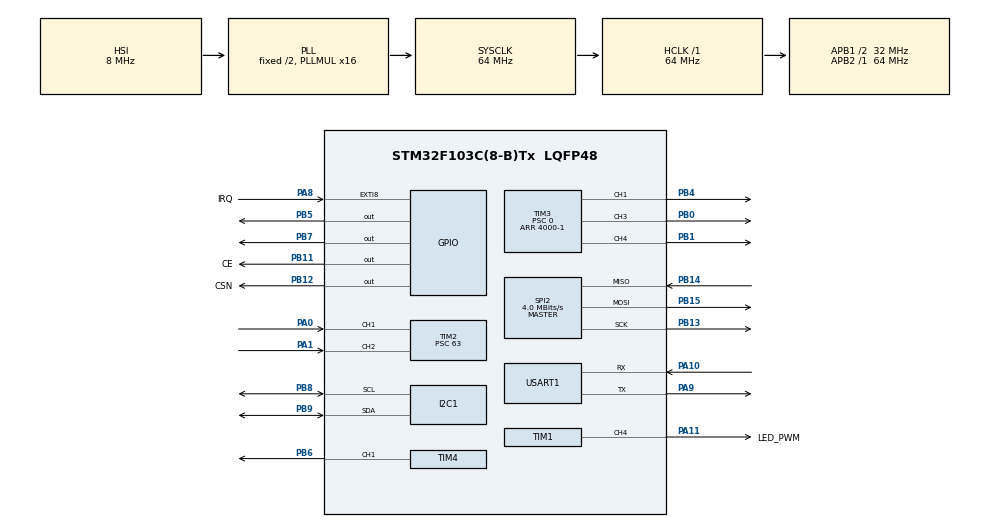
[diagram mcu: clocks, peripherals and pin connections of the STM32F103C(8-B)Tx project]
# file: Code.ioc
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Dma.Request0=TIM1_CH4/TRIG/COM
Dma.TIM1_CH4/TRIG/COM.0.Direction=DMA_MEMORY_TO_PERIPH
Dma.TIM1_CH4/TRIG/COM.0.Instance=DMA1_Channel4
Dma.TIM1_CH4/TRIG/COM.0.MemDataAlignment=DMA_MDATAALIGN_HALFWORD
Dma.TIM1_CH4/TRIG/COM.0.MemInc=DMA_MINC_ENABLE
Dma.TIM1_CH4/TRIG/COM.0.Mode=DMA_NORMAL
Dma.TIM1_CH4/TRIG/COM.0.PeriphDataAlignment=DMA_PDATAALIGN_HALFWORD
Dma.TIM1_CH4/TRIG/COM.0.PeriphInc=DMA_PINC_DISABLE
Dma.TIM1_CH4/TRIG/COM.0.Priority=DMA_PRIORITY_LOW
Mcu.Family=STM32F1
Mcu.Name=STM32F103C(8-B)Tx
Mcu.Package=LQFP48
NVIC.DMA1_Channel4_IRQn=true\:0\:0\:false\:false\:true\:false\:true
NVIC.PriorityGroup=NVIC_PRIORITYGROUP_4
NVIC.TIM1_UP_IRQn=true\:2\:0\:true\:false\:true\:true\:true
NVIC.USART1_IRQn=true\:1\:0\:true\:false\:true\:true\:true
PA0-WKUP.Signal=S_TIM2_CH1_ETR
PA1.Signal=S_TIM2_CH2
PA10.Mode=Asynchronous
PA10.Signal=USART1_RX
PA11.GPIO_Label=LED_PWM
PA11.Signal=S_TIM1_CH4
PA13.Mode=Serial_Wire
PA13.Signal=SYS_JTMS-SWDIO
PA14.Mode=Serial_Wire
PA14.Signal=SYS_JTCK-SWCLK
PA8.GPIO_Label=IRQ
PA8.Signal=GPXTI8
PA9.Mode=Asynchronous
PA9.Signal=USART1_TX
PB0.Signal=S_TIM3_CH3
PB1.Signal=S_TIM3_CH4
PB11.GPIO_Label=CE
PB11.PinState=GPIO_PIN_SET
PB11.Signal=GPIO_Output
PB12.GPIO_Label=CSN
PB12.PinState=GPIO_PIN_SET
PB12.Signal=GPIO_Output
PB13.Mode=Full_Duplex_Master
PB13.Signal=SPI2_SCK
PB14.Mode=Full_Duplex_Master
PB14.Signal=SPI2_MISO
PB15.Mode=Full_Duplex_Master
PB15.Signal=SPI2_MOSI
PB4.Signal=S_TIM3_CH1
PB5.Signal=GPIO_Output
PB6.Signal=S_TIM4_CH1
PB7.Signal=GPIO_Output
PB8.Mode=I2C
PB8.Signal=I2C1_SCL
PB9.Mode=I2C
PB9.Signal=I2C1_SDA
ProjectManager.HeapSize=0x200
ProjectManager.StackSize=0x400
ProjectManager.TargetToolchain=EWARM V8
RCC.AHBFreq_Value=64000000
RCC.APB1CLKDivider=RCC_HCLK_DIV2
RCC.APB1Freq_Value=32000000
RCC.APB1TimFreq_Value=64000000
RCC.APB2Freq_Value=64000000
RCC.APB2TimFreq_Value=64000000
RCC.HCLKFreq_Value=64000000
RCC.PLLMUL=RCC_PLL_MUL16
RCC.SYSCLKFreq_VALUE=64000000
RCC.SYSCLKSource=RCC_SYSCLKSOURCE_PLLCLK
RCC.USBFreq_Value=64000000
SH.S_TIM1_CH4.0=TIM1_CH4,PWM Generation4 CH4
SH.S_TIM2_CH1_ETR.0=TIM2_CH1,Encoder_Interface
SH.S_TIM2_CH2.0=TIM2_CH2,Encoder_Interface
SH.S_TIM3_CH1.0=TIM3_CH1,PWM Generation1 CH1
SH.S_TIM3_CH3.0=TIM3_CH3,PWM Generation3 CH3
SH.S_TIM3_CH4.0=TIM3_CH4,PWM Generation4 CH4
SH.S_TIM4_CH1.0=TIM4_CH1,PWM Generation1 CH1
SPI2.BaudRatePrescaler=SPI_BAUDRATEPRESCALER_8
SPI2.CalculateBaudRate=4.0 MBits/s
SPI2.Direction=SPI_DIRECTION_2LINES
SPI2.Mode=SPI_MODE_MASTER
SPI2.VirtualType=VM_MASTER
TIM1.AutoReloadPreload=TIM_AUTORELOAD_PRELOAD_ENABLE
TIM1.Channel-PWM\ Generation4\ CH4=TIM_CHANNEL_4
TIM1.Period=100-1
TIM1.Prescaler=640-1
TIM2.Period=0xFFFF
TIM2.Prescaler=63
TIM3.AutoReloadPreload=TIM_AUTORELOAD_PRELOAD_ENABLE
TIM3.Channel-PWM\ Generation1\ CH1=TIM_CHANNEL_1
TIM3.Channel-PWM\ Generation2\ No\ Output=TIM_CHANNEL_2
TIM3.Channel-PWM\ Generation3\ CH3=TIM_CHANNEL_3
TIM3.Channel-PWM\ Generation4\ CH4=TIM_CHANNEL_4
TIM3.ClockDivision=TIM_CLOCKDIVISION_DIV1
TIM3.Period=4000-1
TIM3.Prescaler=0
TIM3.Pulse-PWM\ Generation1\ CH1=4000-1
TIM3.Pulse-PWM\ Generation3\ CH3=0
TIM4.Channel-PWM\ Generation1\ CH1=TIM_CHANNEL_1
TIM4.Period=4000-1
TIM4.Pulse-PWM\ Generation1\ CH1=4000-1
USART1.VirtualMode=VM_ASYNC
VP_TIM1_VS_ClockSourceINT.Mode=Internal
VP_TIM3_VS_ClockSourceINT.Mode=Internal
board=custom

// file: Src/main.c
/* USER CODE BEGIN Header */
/**
  ******************************************************************************
  * @file           : main.c
  * @brief          : Main program body
  ******************************************************************************
  * @attention
  *
  * <h2><center>&copy; Copyright (c) 2019 STMicroelectronics.
  * All rights reserved.</center></h2>
  *
  * This software component is licensed by ST under BSD 3-Clause license,
  * the "License"; You may not use this file except in compliance with the
  * License. You may obtain a copy of the License at:
  *                        opensource.org/licenses/BSD-3-Clause
  *
  ******************************************************************************
  */
/* USER CODE END Header */

#include "main.h"
#include "dma.h"
#include "i2c.h"
#include "spi.h"
#include "tim.h"
#include "usart.h"
#include "gpio.h"

/* USER CODE BEGIN Includes */
#include "icm20600.h"
#include "shell.h"
#include "flag.h"
#include "gyro_acc.h"
#include "mtr.h"
/* USER CODE END Includes */

/* USER CODE BEGIN PV */
/* Private variables ---------------------------------------------------------*/

/* USER CODE END PV */

void SystemClock_Config(void);
/* USER CODE BEGIN PFP */
/* Private function prototypes -----------------------------------------------*/

/* USER CODE END PFP */

int main(void)
{

  /* MCU Configuration--------------------------------------------------------*/

  /* Reset of all peripherals, Initializes the Flash interface and the Systick. */
  HAL_Init();

  /* Configure the system clock */
  SystemClock_Config();

  /* Initialize all configured peripherals */
  MX_GPIO_Init();
  MX_DMA_Init();
  MX_I2C1_Init();
  MX_SPI2_Init();
  MX_USART1_UART_Init();
  MX_TIM1_Init();
  MX_TIM3_Init();
  MX_TIM4_Init();
  MX_TIM2_Init();
  /* USER CODE BEGIN 2 */
  ICM_Init();
  pwm_init();
  pwm_conf_init();
  shell_init();
  HAL_TIM_Base_Start_IT(&htim1);
  _get_angle(last_angle, ac_ang);
  /* USER CODE END 2 */

  /* Infinite loop */
  /* USER CODE BEGIN WHILE */
  while (1)
  {
    //if (show_gyro_angle_flag && _5ms_flag) {
    //}
    //show_gyro_angle_speed();
    if (run_shell_flag == 1) {
      shell_exe();
      run_shell_flag = 0;
    }

    if (_5ms_flag == 1) {
      if (show_angle_flag != 0) {
        if (show_angle_flag == EST_ANGLE_FLAG) {
          show_angle();
        } else if (show_angle_flag == ACC_ANGLE_FLAG) {
          show_acc_angle();
        } else if (show_angle_flag == GYRO_ANGLE_FLAG) {
          show_gyro_angle();
        }
      }
      //control_angle();
      control_angle_2();
      //control_angle_3();
      //show_angle();
      _5ms_flag = 0;
    }
    /* USER CODE END WHILE */

  }
}

void SystemClock_Config(void)
{
  RCC_OscInitTypeDef RCC_OscInitStruct = {0};
  RCC_ClkInitTypeDef RCC_ClkInitStruct = {0};

  /** Initializes the CPU, AHB and APB busses clocks
  */
  RCC_OscInitStruct.OscillatorType = RCC_OSCILLATORTYPE_HSI;
  RCC_OscInitStruct.HSIState = RCC_HSI_ON;
  RCC_OscInitStruct.HSICalibrationValue = RCC_HSICALIBRATION_DEFAULT;
  RCC_OscInitStruct.PLL.PLLState = RCC_PLL_ON;
  RCC_OscInitStruct.PLL.PLLSource = RCC_PLLSOURCE_HSI_DIV2;
  RCC_OscInitStruct.PLL.PLLMUL = RCC_PLL_MUL16;
  if (HAL_RCC_OscConfig(&RCC_OscInitStruct) != HAL_OK)
  {
    Error_Handler();
  }
  /** Initializes the CPU, AHB and APB busses clocks
  */
  RCC_ClkInitStruct.ClockType = RCC_CLOCKTYPE_HCLK|RCC_CLOCKTYPE_SYSCLK
                              |RCC_CLOCKTYPE_PCLK1|RCC_CLOCKTYPE_PCLK2;
  RCC_ClkInitStruct.SYSCLKSource = RCC_SYSCLKSOURCE_PLLCLK;
  RCC_ClkInitStruct.AHBCLKDivider = RCC_SYSCLK_DIV1;
  RCC_ClkInitStruct.APB1CLKDivider = RCC_HCLK_DIV2;
  RCC_ClkInitStruct.APB2CLKDivider = RCC_HCLK_DIV1;

  if (HAL_RCC_ClockConfig(&RCC_ClkInitStruct, FLASH_LATENCY_2) != HAL_OK)
  {
    Error_Handler();
  }
}

/* USER CODE BEGIN 4 */
void HAL_SYSTICK_Callback(void) {
}
/* USER CODE END 4 */

void Error_Handler(void)
{
  /* USER CODE BEGIN Error_Handler_Debug */
  /* User can add his own implementation to report the HAL error return state */
  while(1)
  {
    uprintf("error\r\n");
  }
  /* USER CODE END Error_Handler_Debug */
}

/************************ (C) COPYRIGHT STMicroelectronics *****END OF FILE****/
